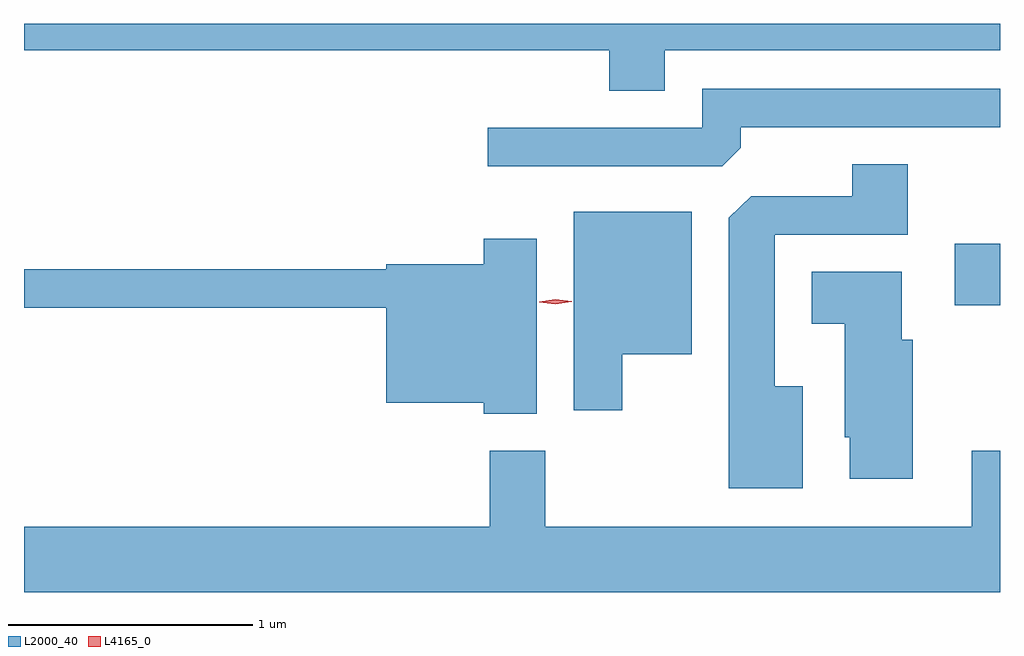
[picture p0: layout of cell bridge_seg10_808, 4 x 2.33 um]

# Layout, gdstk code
import gdstk
lib = gdstk.Library(unit=1e-6, precision=1e-09)
def R(c, l, rs):  # rectangles x0, y0, x1, y1
    for r in rs: c.add(gdstk.rectangle(r[:2], r[2:], *l))
def P(c, l, *ps):  # polygons
    for p in ps: c.add(gdstk.Polygon(p, *l))
L2000_40 = (2000, 40)
L4165_0 = (4165, 0)

bridge_seg10_808 = lib.new_cell('bridge_seg10_808')
R(bridge_seg10_808, L2000_40, [(360.416,2177.251,360.602,2177.504)])
P(bridge_seg10_808, L2000_40, [(356.602,2178.296),(359.001,2178.296),(359.001,2178.131),(359.229,2178.131),(359.229,2178.296),(360.602,2178.296),(360.602,2178.404),(356.602,2178.404)],
  [(359.539,2177.897),(359.539,2177.981),(360.602,2177.981),(360.602,2178.139),(359.381,2178.139),(359.381,2177.979),(358.503,2177.979),(358.503,2177.821),(359.464,2177.821)],
  [(359.794,2176.919),(359.679,2176.919),(359.679,2177.541),(360.224,2177.541),(360.224,2177.829),(359.996,2177.829),(359.996,2177.699),(359.582,2177.699),(359.491,2177.609),(359.491,2176.501),(359.794,2176.501)],
  [(359.054,2177.051),(359.339,2177.051),(359.339,2177.634),(358.856,2177.634),(358.856,2176.821),(359.054,2176.821)],
  [(358.704,2177.524),(358.486,2177.524),(358.486,2177.419),(358.086,2177.419),(358.086,2177.399),(356.602,2177.399),(356.602,2177.241),(358.086,2177.241),(358.086,2176.851),(358.486,2176.851),(358.486,2176.806),(358.704,2176.806)],
  [(360.244,2177.109),(360.199,2177.109),(360.199,2177.389),(359.831,2177.389),(359.831,2177.176),(359.966,2177.176),(359.966,2176.711),(359.986,2176.711),(359.986,2176.541),(360.244,2176.541)],
  [(360.602,2176.654),(360.486,2176.654),(360.486,2176.344),(358.739,2176.344),(358.739,2176.654),(358.511,2176.654),(358.511,2176.344),(356.602,2176.344),(356.602,2176.076),(360.602,2176.076)])
P(bridge_seg10_808, L4165_0, [(358.78,2177.256),(358.713,2177.264),(358.713,2177.264),(358.713,2177.265),(358.779,2177.275),(358.846,2177.267),(358.846,2177.266),(358.846,2177.266)])

lib.write_gds('bridge_seg10_808.gds')
